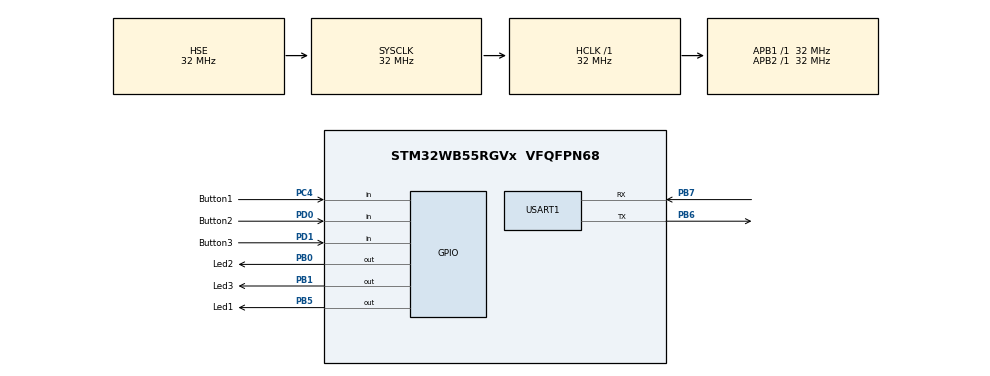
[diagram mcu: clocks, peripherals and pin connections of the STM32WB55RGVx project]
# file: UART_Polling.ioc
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Mcu.Family=STM32WB
Mcu.Name=STM32WB55RGVx
Mcu.Package=VFQFPN68
NVIC.HSEM_IRQn=true\:0\:0\:false\:false\:true\:false\:true
NVIC.PriorityGroup=NVIC_PRIORITYGROUP_4
OSC_IN.Mode=HSE-External-Oscillator
OSC_IN.Signal=RCC_OSC_IN
OSC_OUT.Mode=HSE-External-Oscillator
OSC_OUT.Signal=RCC_OSC_OUT
PB0.GPIO_Label=Led2
PB0.Signal=GPIO_Output
PB1.GPIO_Label=Led3
PB1.Signal=GPIO_Output
PB5.GPIO_Label=Led1
PB5.Signal=GPIO_Output
PB6.Mode=Asynchronous
PB6.Signal=USART1_TX
PB7.Mode=Asynchronous
PB7.Signal=USART1_RX
PC14-OSC32_IN.Mode=LSE-External-Oscillator
PC14-OSC32_IN.Signal=RCC_OSC32_IN
PC15-OSC32_OUT.Mode=LSE-External-Oscillator
PC15-OSC32_OUT.Signal=RCC_OSC32_OUT
PC4.GPIO_Label=Button1
PC4.GPIO_PuPd=GPIO_PULLUP
PC4.Signal=GPIO_Input
PD0.GPIO_Label=Button2
PD0.GPIO_PuPd=GPIO_PULLUP
PD0.Signal=GPIO_Input
PD1.GPIO_Label=Button3
PD1.GPIO_PuPd=GPIO_PULLUP
PD1.Signal=GPIO_Input
ProjectManager.HeapSize=0x200
ProjectManager.StackSize=0x400
ProjectManager.TargetToolchain=STM32CubeIDE
RCC.AHBFreq_Value=32000000
RCC.APB1Freq_Value=32000000
RCC.APB1TimFreq_Value=32000000
RCC.APB2Freq_Value=32000000
RCC.APB2TimFreq_Value=32000000
RCC.APB3Freq_Value=16000000
RCC.CortexFreq_Value=32000000
RCC.HCLKFreq_Value=32000000
RCC.HSE_VALUE=32000000
RCC.HSI48_VALUE=48000000
RCC.HSI_VALUE=16000000
RCC.SMPSCLockSelectionVirtual=RCC_SMPSCLKSOURCE_HSE
RCC.SYSCLKFreq_VALUE=32000000
RCC.SYSCLKSource=RCC_SYSCLKSOURCE_HSE
RCC.VCOOutputFreq_Value=32000000
USART1.VirtualMode-Asynchronous=VM_ASYNC
VP_HSEM_VS_HSEM.Mode=HSEM_Activate
board=custom

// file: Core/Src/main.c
/* USER CODE BEGIN Header */
/**
  ******************************************************************************
  * @file           : main.c
  * @brief          : Main program body
  ******************************************************************************
  * @attention
  *
  * <h2><center>&copy; Copyright (c) 2022 STMicroelectronics.
  * All rights reserved.</center></h2>
  *
  * This software component is licensed by ST under BSD 3-Clause license,
  * the "License"; You may not use this file except in compliance with the
  * License. You may obtain a copy of the License at:
  *                        opensource.org/licenses/BSD-3-Clause
  *
  ******************************************************************************
  */
/* USER CODE END Header */
#include "main.h"

/* USER CODE BEGIN Includes */
#include <stdio.h>
/* USER CODE END Includes */

UART_HandleTypeDef huart1;

void SystemClock_Config(void);
static void MX_GPIO_Init(void);
static void MX_USART1_UART_Init(void);
/* USER CODE BEGIN PFP */
#ifdef __GNUC__
/* With GCC, small printf (option LD Linker->Libraries->Small printf
   set to 'Yes') calls __io_putchar() */
#define PUTCHAR_PROTOTYPE int __io_putchar(int ch)
#else
#define PUTCHAR_PROTOTYPE int fputc(int ch, FILE *f)
#endif /* __GNUC__ */
/* USER CODE END PFP */

int main(void)
{

  /* MCU Configuration--------------------------------------------------------*/

  /* Reset of all peripherals, Initializes the Flash interface and the Systick. */
  HAL_Init();

  /* Configure the system clock */
  SystemClock_Config();

  /* Initialize all configured peripherals */
  MX_GPIO_Init();
  MX_USART1_UART_Init();

  /* Infinite loop */
  while (1)
  {

    /* USER CODE BEGIN 3 */
	  //	  HAL_GPIO_TogglePin(Led1_GPIO_Port, Led1_Pin);
	  //	  while (HAL_GPIO_ReadPin(Button1_GPIO_Port, Button1_Pin) != GPIO_PIN_RESET) {}

	  printf("Using printf \n");

	  uint8_t data_tx[]= {'U','s','i','n','g',' ','T','X',' ','1','2','3','\n'};
	  HAL_UART_Transmit(&huart1,data_tx,sizeof data_tx,100);

	  uint8_t data_rx[10];
	  while ( HAL_UART_Receive(&huart1,data_rx,sizeof data_rx,100)!= HAL_OK ) { HAL_UART_AbortReceive(&huart1); /* Reset buffer */ }

	  HAL_Delay(100);
  }
  /* USER CODE END 3 */
}

void SystemClock_Config(void)
{
  RCC_OscInitTypeDef RCC_OscInitStruct = {0};
  RCC_ClkInitTypeDef RCC_ClkInitStruct = {0};
  RCC_PeriphCLKInitTypeDef PeriphClkInitStruct = {0};

  /** Configure the main internal regulator output voltage
  */
  __HAL_PWR_VOLTAGESCALING_CONFIG(PWR_REGULATOR_VOLTAGE_SCALE1);
  /** Initializes the RCC Oscillators according to the specified parameters
  * in the RCC_OscInitTypeDef structure.
  */
  RCC_OscInitStruct.OscillatorType = RCC_OSCILLATORTYPE_HSI|RCC_OSCILLATORTYPE_HSE;
  RCC_OscInitStruct.HSEState = RCC_HSE_ON;
  RCC_OscInitStruct.HSIState = RCC_HSI_ON;
  RCC_OscInitStruct.HSICalibrationValue = RCC_HSICALIBRATION_DEFAULT;
  RCC_OscInitStruct.PLL.PLLState = RCC_PLL_NONE;
  if (HAL_RCC_OscConfig(&RCC_OscInitStruct) != HAL_OK)
  {
    Error_Handler();
  }
  /** Configure the SYSCLKSource, HCLK, PCLK1 and PCLK2 clocks dividers
  */
  RCC_ClkInitStruct.ClockType = RCC_CLOCKTYPE_HCLK4|RCC_CLOCKTYPE_HCLK2
                              |RCC_CLOCKTYPE_HCLK|RCC_CLOCKTYPE_SYSCLK
                              |RCC_CLOCKTYPE_PCLK1|RCC_CLOCKTYPE_PCLK2;
  RCC_ClkInitStruct.SYSCLKSource = RCC_SYSCLKSOURCE_HSE;
  RCC_ClkInitStruct.AHBCLKDivider = RCC_SYSCLK_DIV1;
  RCC_ClkInitStruct.APB1CLKDivider = RCC_HCLK_DIV1;
  RCC_ClkInitStruct.APB2CLKDivider = RCC_HCLK_DIV1;
  RCC_ClkInitStruct.AHBCLK2Divider = RCC_SYSCLK_DIV1;
  RCC_ClkInitStruct.AHBCLK4Divider = RCC_SYSCLK_DIV1;

  if (HAL_RCC_ClockConfig(&RCC_ClkInitStruct, FLASH_LATENCY_1) != HAL_OK)
  {
    Error_Handler();
  }
  /** Initializes the peripherals clocks
  */
  PeriphClkInitStruct.PeriphClockSelection = RCC_PERIPHCLK_SMPS|RCC_PERIPHCLK_USART1;
  PeriphClkInitStruct.Usart1ClockSelection = RCC_USART1CLKSOURCE_PCLK2;
  PeriphClkInitStruct.SmpsClockSelection = RCC_SMPSCLKSOURCE_HSE;
  PeriphClkInitStruct.SmpsDivSelection = RCC_SMPSCLKDIV_RANGE0;
  if (HAL_RCCEx_PeriphCLKConfig(&PeriphClkInitStruct) != HAL_OK)
  {
    Error_Handler();
  }
}

static void MX_USART1_UART_Init(void)
{

  huart1.Instance = USART1;
  huart1.Init.BaudRate = 115200;
  huart1.Init.WordLength = UART_WORDLENGTH_8B;
  huart1.Init.StopBits = UART_STOPBITS_1;
  huart1.Init.Parity = UART_PARITY_NONE;
  huart1.Init.Mode = UART_MODE_TX_RX;
  huart1.Init.HwFlowCtl = UART_HWCONTROL_NONE;
  huart1.Init.OverSampling = UART_OVERSAMPLING_16;
  huart1.Init.OneBitSampling = UART_ONE_BIT_SAMPLE_DISABLE;
  huart1.Init.ClockPrescaler = UART_PRESCALER_DIV1;
  huart1.AdvancedInit.AdvFeatureInit = UART_ADVFEATURE_NO_INIT;
  if (HAL_UART_Init(&huart1) != HAL_OK)
  {
    Error_Handler();
  }
  if (HAL_UARTEx_SetTxFifoThreshold(&huart1, UART_TXFIFO_THRESHOLD_1_8) != HAL_OK)
  {
    Error_Handler();
  }
  if (HAL_UARTEx_SetRxFifoThreshold(&huart1, UART_RXFIFO_THRESHOLD_1_8) != HAL_OK)
  {
    Error_Handler();
  }
  if (HAL_UARTEx_DisableFifoMode(&huart1) != HAL_OK)
  {
    Error_Handler();
  }

}

static void MX_GPIO_Init(void)
{
  GPIO_InitTypeDef GPIO_InitStruct = {0};

  /* GPIO Ports Clock Enable */
  __HAL_RCC_GPIOC_CLK_ENABLE();
  __HAL_RCC_GPIOB_CLK_ENABLE();
  __HAL_RCC_GPIOD_CLK_ENABLE();

  /*Configure GPIO pin Output Level */
  HAL_GPIO_WritePin(GPIOB, Led2_Pin|Led3_Pin|Led1_Pin, GPIO_PIN_RESET);

  /*Configure GPIO pin : Button1_Pin */
  GPIO_InitStruct.Pin = Button1_Pin;
  GPIO_InitStruct.Mode = GPIO_MODE_INPUT;
  GPIO_InitStruct.Pull = GPIO_PULLUP;
  HAL_GPIO_Init(Button1_GPIO_Port, &GPIO_InitStruct);

  /*Configure GPIO pins : Led2_Pin Led3_Pin Led1_Pin */
  GPIO_InitStruct.Pin = Led2_Pin|Led3_Pin|Led1_Pin;
  GPIO_InitStruct.Mode = GPIO_MODE_OUTPUT_PP;
  GPIO_InitStruct.Pull = GPIO_NOPULL;
  GPIO_InitStruct.Speed = GPIO_SPEED_FREQ_LOW;
  HAL_GPIO_Init(GPIOB, &GPIO_InitStruct);

  /*Configure GPIO pins : Button2_Pin Button3_Pin */
  GPIO_InitStruct.Pin = Button2_Pin|Button3_Pin;
  GPIO_InitStruct.Mode = GPIO_MODE_INPUT;
  GPIO_InitStruct.Pull = GPIO_PULLUP;
  HAL_GPIO_Init(GPIOD, &GPIO_InitStruct);

}

/* USER CODE BEGIN 4 */
PUTCHAR_PROTOTYPE
{
  /* Place your implementation of fputc here */
  /* e.g. write a character to the USART1 and Loop until the end of transmission */
  HAL_UART_Transmit(&huart1, (uint8_t *)&ch, 1, 0xFFFF);

  return ch;
}
/* USER CODE END 4 */

void Error_Handler(void)
{
}

/************************ (C) COPYRIGHT STMicroelectronics *****END OF FILE****/
